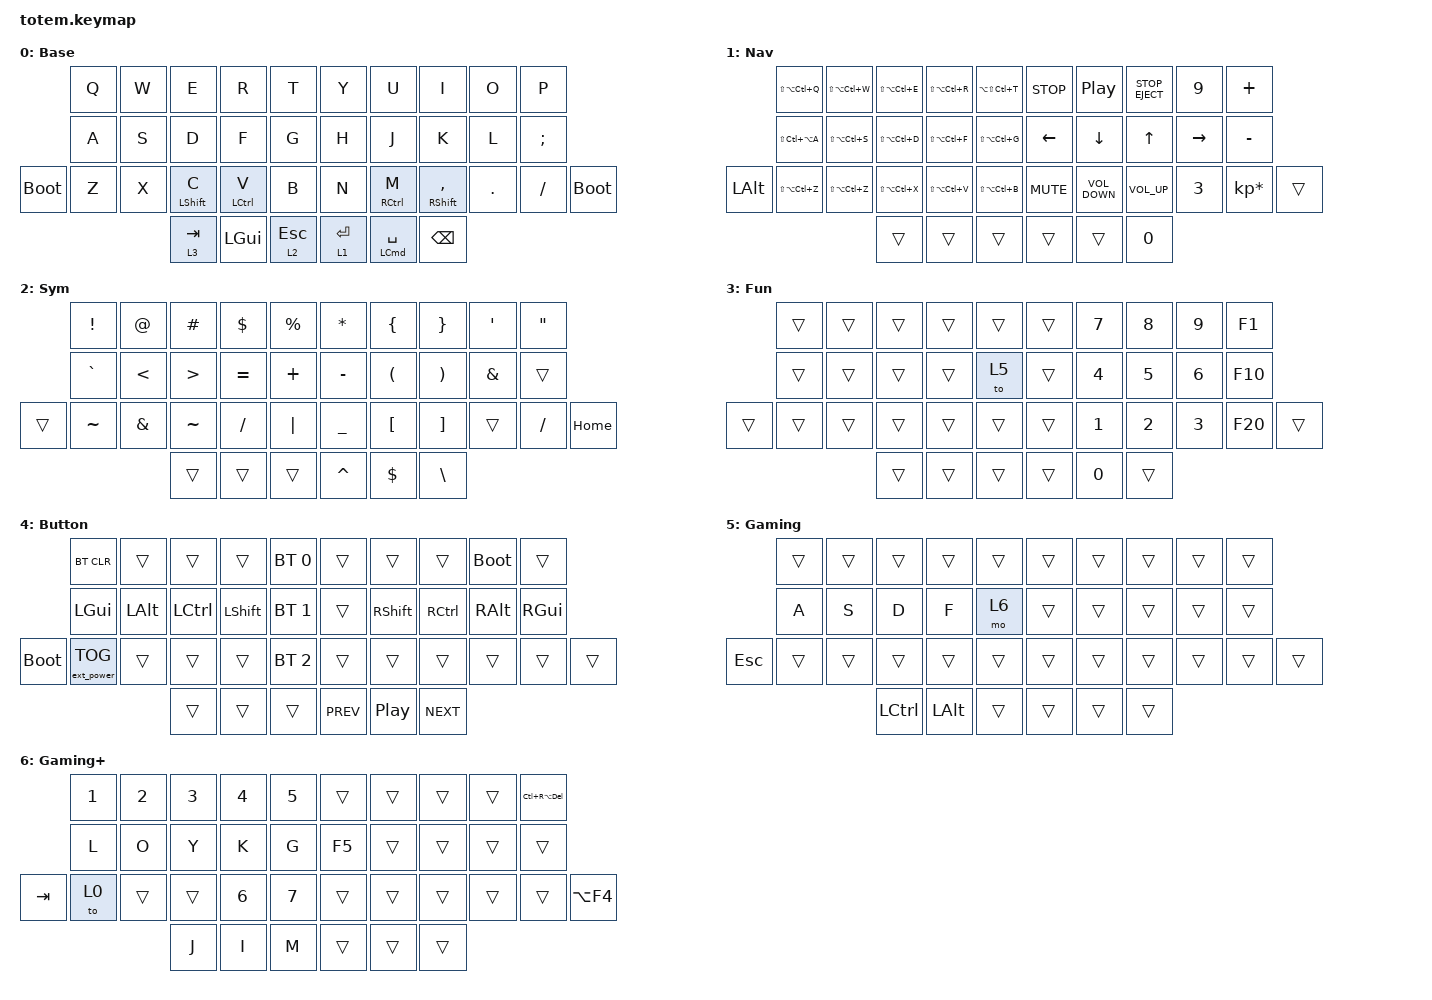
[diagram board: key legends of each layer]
//
//                                                        ▀▀▀▀▀     ▀▀▀▀▀          ▀▀█▀▀
//                                                        ▄▀▀▀▄  ▄  ▄▀▀▀▄  ▄  ▄▀▀▀▄  █  ▄▀▀▀▄
//                                                        █   █  █  █   █  █  █   █  █  █   █
//                                                         ▀▀▀   █   ▀▀▀   █   ▀▀▀   ▀   ▀▀▀
//                                                               █      ▄▄▄█▄▄▄    █   █  
//                                                               ▀      █  █  █     █▄█
//                                                             ▀▀▀▀▀    █  █  █      ▀
//                                                                      ▀  ▀  ▀
//
// ▄▄▄▄▄▄▄▄▄▄▄▄▄▄▄▄▄▄▄▄▄▄▄▄▄▄▄▄▄▄▄▄▄▄▄▄▄▄▄▄▄▄▄▄▄▄▄▄▄▄▄▄▄▄▄▄▄▄▄▄▄▄▄▄▄▄▄▄▄▄▄▄▄▄▄▄▄▄▄▄▄▄▄▄▄▄▄▄▄▄▄▄▄▄▄▄▄▄▄▄▄▄▄▄▄▄▄▄▄▄▄▄▄▄▄▄▄▄▄▄▄▄▄▄▄▄▄▄▄▄▄▄▄▄▄▄▄▄▄▄▄▄▄▄▄▄▄▄▄

#include <behaviors.dtsi>
#include <dt-bindings/zmk/bt.h>
#include <dt-bindings/zmk/ext_power.h>
#include <dt-bindings/zmk/keys.h>

#define Base        0
#define Media       1
#define Nav         2
#define Mouse       3
#define Sym         4
#define Num         5
#define Fun         6
#define Button      7
#define Game        8
#define Gameplus    9

&mt {
    quick-tap-ms = <100>;
    global-quick-tap;
    flavor = "tap-preferred";
    tapping-term-ms = <170>;
};

&lt {
    tapping-term-ms = <240>;
    flavor = "balanced";
    quick-tap-ms = <150>;
};

/ {
    behaviors {
        hm: homerow_mods {
            compatible = "zmk,behavior-hold-tap";
            label = "HOMEROW_MODS";
            #binding-cells = <2>;
            flavor = "tap-preferred";
            tapping-term-ms = <200>;
            quick-tap-ms = <125>;
            global-quick-tap;
            bindings = <&kp>, <&kp>;
        };
    };

    combos {
        compatible = "zmk,combos";

        copy {
            bindings = <&kp LG(C)>;
            key-positions = <23 24>;
        };

        paste {
            bindings = <&kp LG(V)>;
            key-positions = <24 25>;
        };
    };

    keymap {
        compatible = "zmk,keymap";

        Base {
            label = "Base";
            bindings = <
             &kp Q  &kp W  &kp E             &kp R         &kp T           &kp Y        &kp U                   &kp I                  &kp O    &kp P
             &kp A  &kp S  &kp D             &kp F         &kp G           &kp H        &kp J                   &kp K                  &kp L    &kp SEMI
&bootloader  &kp Z  &kp X  &hm LEFT_SHIFT C  &hm LCTRL V   &kp B           &kp N        &hm RCTRL M             &hm RIGHT_SHIFT COMMA  &kp DOT  &kp SLASH  &bootloader
                           &lt 3 TAB         &kp LEFT_GUI  &lt 2 ESCAPE    &lt 1 ENTER  &mt LEFT_COMMAND SPACE  &kp BACKSPACE
            >;
        };

        Nav {
            label = "Nav";
            bindings = <
              &kp LS(LA(LC(Q)))  &kp LS(LA(LC(W)))  &kp LS(LA(LC(E)))  &kp LS(LA(LC(R)))  &kp LA(LS(LC(T)))    &kp C_STOP  &kp C_PLAY_PAUSE   &kp C_STOP_EJECT  &kp NUMBER_9  &kp PLUS
              &kp LS(LC(LA(A)))  &kp LS(LA(LC(S)))  &kp LS(LA(LC(D)))  &kp LS(LA(LC(F)))  &kp LS(LA(LC(G)))    &kp LEFT    &kp DOWN           &kp UP_ARROW      &kp RIGHT     &kp MINUS
&kp LEFT_ALT  &kp LS(LA(LC(Z)))  &kp LS(LA(LC(Z)))  &kp LS(LA(LC(X)))  &kp LS(LA(LC(V)))  &kp LS(LA(LC(B)))    &kp K_MUTE  &kp C_VOLUME_DOWN  &kp C_VOLUME_UP   &kp NUMBER_3  &kp KP_MULTIPLY  &trans
                                                    &trans             &trans             &trans               &trans      &trans             &kp NUMBER_0
            >;
        };

        Sym {
            label = "Sym";
            bindings = <
        &kp EXCLAMATION  &kp AT         &kp HASH          &kp DOLLAR  &kp PERCENT    &kp ASTERISK  &kp LEFT_BRACE        &kp RIGHT_BRACE        &kp SQT        &kp DQT
        &kp GRAVE        &kp LESS_THAN  &kp GREATER_THAN  &kp EQUAL   &kp PLUS       &kp MINUS     &kp LEFT_PARENTHESIS  &kp RIGHT_PARENTHESIS  &kp AMPERSAND  &trans
&trans  &kp TILDE        &kp AMPERSAND  &kp TILDE         &kp SLASH   &kp PIPE       &kp UNDER     &kp LEFT_BRACKET      &kp RIGHT_BRACKET      &trans         &kp SLASH  &kp HOME
                                        &trans            &trans      &trans         &kp CARET     &kp DOLLAR            &kp BACKSLASH
            >;
        };

        Num {
            label = "Fun";
            bindings = <
        &trans  &trans  &trans  &trans  &trans    &trans  &kp N7        &kp N8  &kp N9  &kp F1
        &trans  &trans  &trans  &trans  &to 5     &trans  &kp N4        &kp N5  &kp N6  &kp F10
&trans  &trans  &trans  &trans  &trans  &trans    &trans  &kp NUMBER_1  &kp N2  &kp N3  &kp F20  &trans
                        &trans  &trans  &trans    &trans  &kp N0        &trans
            >;
        };

        Button {
            label = "Button";
            bindings = <
             &bt BT_CLR         &trans    &trans     &trans      &bt BT_SEL 0    &trans      &trans            &trans      &bootloader  &trans
             &kp LGUI           &kp LALT  &kp LCTRL  &kp LSHIFT  &bt BT_SEL 1    &trans      &kp RSHIFT        &kp RCTRL   &kp RALT     &kp RGUI
&bootloader  &ext_power EP_TOG  &trans    &trans     &trans      &bt BT_SEL 2    &trans      &trans            &trans      &trans       &trans    &trans
                                          &trans     &trans      &trans          &kp C_PREV  &kp C_PLAY_PAUSE  &kp C_NEXT
            >;
        };

        Gaming {
            bindings = <
            &trans  &trans  &trans     &trans        &trans    &trans  &trans  &trans  &trans  &trans
            &kp A   &kp S   &kp D      &kp F         &mo 6     &trans  &trans  &trans  &trans  &trans
&kp ESCAPE  &trans  &trans  &trans     &trans        &trans    &trans  &trans  &trans  &trans  &trans  &trans
                            &kp LCTRL  &kp LEFT_ALT  &trans    &trans  &trans  &trans
            >;

            label = "Gaming";
        };

        Gaming+ {
            bindings = <
         &kp NUMBER_1  &kp NUMBER_2  &kp NUMBER_3  &kp NUMBER_4  &kp NUMBER_5    &trans  &trans  &trans  &trans  &kp LC(RA(DEL))
         &kp L         &kp O         &kp Y         &kp K         &kp G           &kp F5  &trans  &trans  &trans  &trans
&kp TAB  &to 0         &trans        &trans        &kp NUMBER_6  &kp NUMBER_7    &trans  &trans  &trans  &trans  &trans           &kp LA(F4)
                                     &kp J         &kp I         &kp M           &trans  &trans  &trans
            >;

            label = "Gaming+";
        };
    };
};
